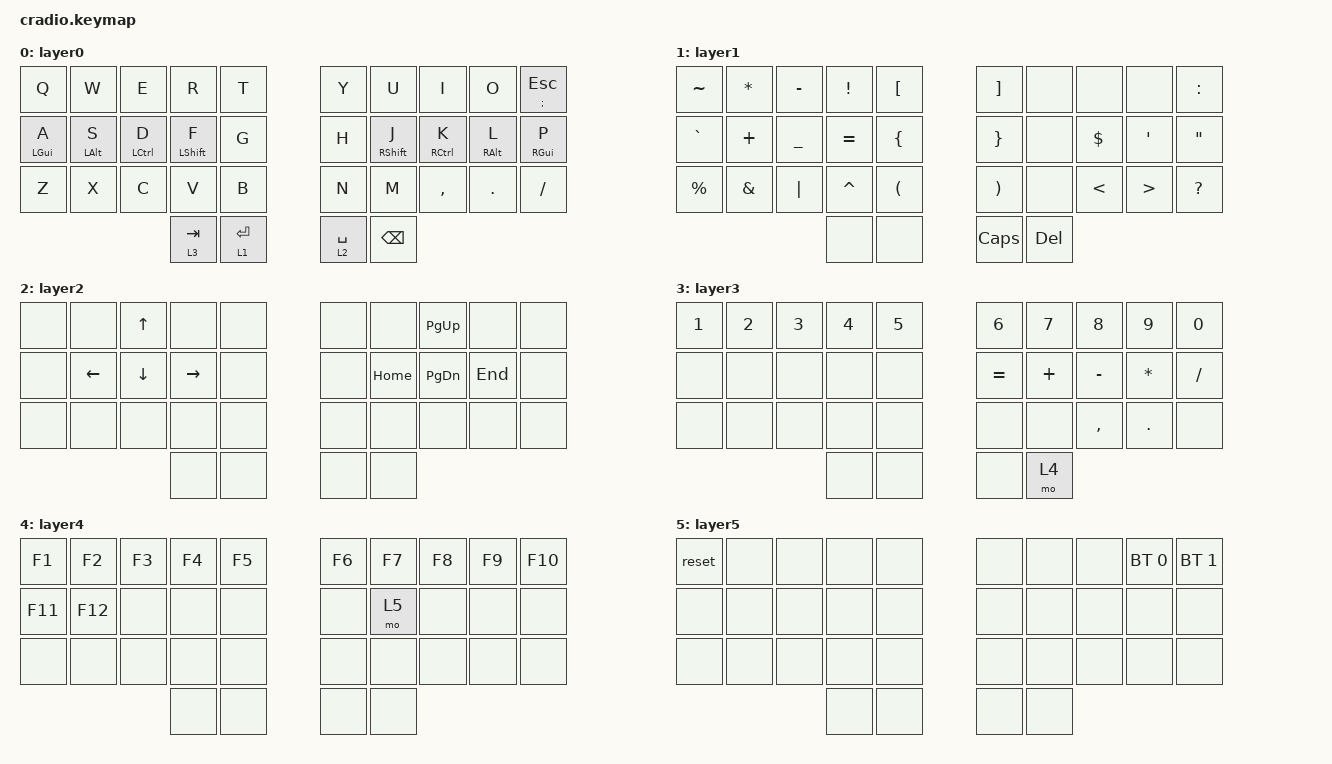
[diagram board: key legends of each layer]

  /*
  * Copyright (c) 2020 The ZMK Contributors
  *
  * SPDX-License-Identifier: MIT
  */

  #include <behaviors.dtsi>
  #include <dt-bindings/zmk/keys.h>
  #include <dt-bindings/zmk/bt.h>
  #include <dt-bindings/zmk/ext_power.h>
  



  / {
    behaviors {
        hm: homerow_mods {
            compatible = "zmk,behavior-hold-tap";
            label = "HOMEROW_MODS";
            #binding-cells = <2>;
            tapping-term-ms = <200>;
            quick-tap-ms = <0>;
            flavor = "tap-preferred";
            bindings = <&kp>, <&kp>;
        };
    };

    keymap {
      compatible = "zmk,keymap";
        layer0 {
          bindings = <
            &kp Q &kp W &kp E &kp R &kp T &kp Y &kp U &kp I &kp O &hm SEMICOLON ESCAPE
            &hm LEFT_GUI A &hm LEFT_ALT S &hm LEFT_CONTROL D &hm LEFT_SHIFT F &kp G &kp H &hm RIGHT_SHIFT J &hm RIGHT_CONTROL K &hm RIGHT_ALT L &hm RIGHT_GUI P 
            &kp Z &kp X &kp C &kp V &kp B &kp N &kp M &kp COMMA &kp DOT &kp SLASH 
            &lt 3 TAB &lt 1 ENTER &lt 2 SPACE &kp BACKSPACE
          >;
        };
        
        layer1 {
          bindings = <
            &kp TILDE &kp ASTERISK &kp MINUS &kp EXCL &kp LEFT_BRACKET &kp RIGHT_BRACKET &none &none &none &kp COLON 
            &kp GRAVE &kp PLUS &kp UNDERSCORE &kp EQUAL &kp LEFT_BRACE &kp RIGHT_BRACE &none &kp DOLLAR &kp SINGLE_QUOTE &kp DOUBLE_QUOTES 
            &kp PERCENT &kp AMPERSAND &kp PIPE &kp CARET &kp LEFT_PARENTHESIS &kp RIGHT_PARENTHESIS &none &kp LESS_THAN &kp GREATER_THAN &kp QMARK
            &none &none &kp CAPSLOCK &kp DELETE
          >;
        };
        
        layer2 {
          bindings = <
            &none &none &kp UP &none &none &none &none &kp PAGE_UP &none &none 
            &none &kp LEFT &kp DOWN &kp RIGHT &none &none &kp HOME &kp PAGE_DOWN &kp END &none 
            &none &none &none &none &none &none &none &none &none &none &none &none &none &none
          >;
        };
        layer3 {
          bindings = <
            &kp N1 &kp N2 &kp N3 &kp N4 &kp N5 &kp N6 &kp N7 &kp N8 &kp N9 &kp N0 
            &none &none &none &none &none &kp EQUAL &kp PLUS &kp MINUS &kp ASTERISK &kp SLASH 
            &none &none &none &none &none &none &none &kp COMMA &kp DOT &none 
            &none &none &none &mo 4
          >;
        };
        layer4 {
          bindings = <
            &kp F1 &kp F2 &kp F3 &kp F4 &kp F5 &kp F6 &kp F7 &kp F8 &kp F9 &kp F10 
            &kp F11 &kp F12 &none &none &none &none &mo 5 &none &none &none
            &none &none &none &none &none &none &none &none &none &none
            &none &none &none &none
          >;
        };
        layer5 {
          bindings = <
            &reset &none &none &none &none &none &none &none &bt BT_SEL 0 &bt BT_SEL 1
            &none &none &none &none &none &none &none &none &none &none
            &none &none &none &none &none &none &none &none &none &none
            &none &none &none &none
          >;
        };
    };
  };
 
